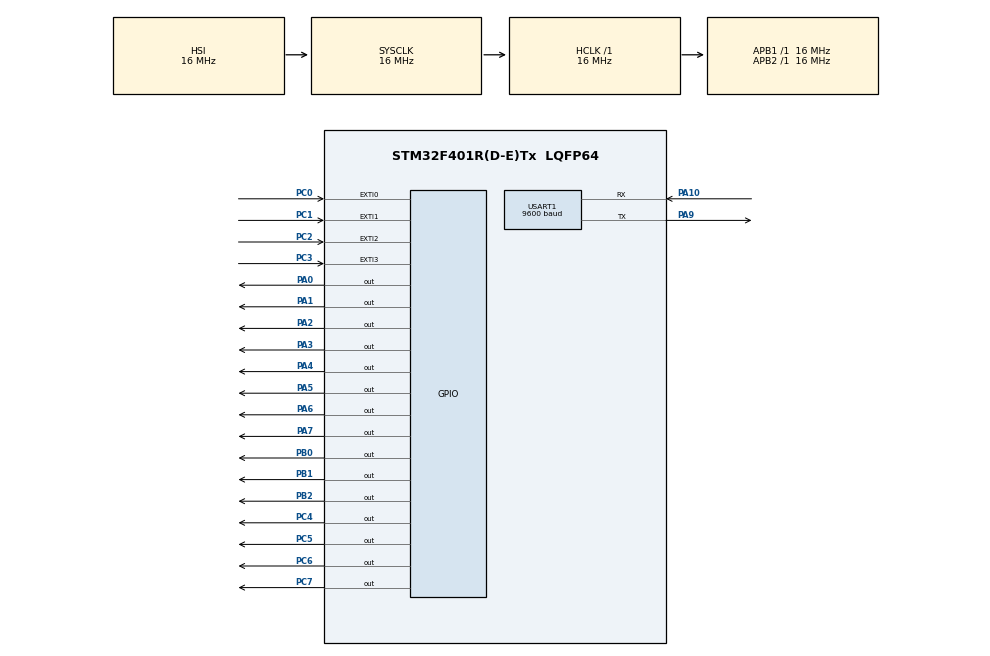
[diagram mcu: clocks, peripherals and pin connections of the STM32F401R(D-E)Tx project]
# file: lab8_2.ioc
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Mcu.Family=STM32F4
Mcu.Name=STM32F401R(D-E)Tx
Mcu.Package=LQFP64
NVIC.EXTI0_IRQn=true\:0\:0\:false\:false\:true\:true\:true
NVIC.EXTI1_IRQn=true\:0\:0\:false\:false\:true\:true\:true
NVIC.EXTI2_IRQn=true\:0\:0\:false\:false\:true\:true\:true
NVIC.EXTI3_IRQn=true\:0\:0\:false\:false\:true\:true\:true
NVIC.PriorityGroup=NVIC_PRIORITYGROUP_4
NVIC.USART1_IRQn=true\:0\:0\:false\:false\:true\:true\:true
PA0-WKUP.Signal=GPIO_Output
PA1.Signal=GPIO_Output
PA10.GPIO_PuPd=GPIO_PULLDOWN
PA10.GPIO_Speed=GPIO_SPEED_FREQ_HIGH
PA10.Mode=Asynchronous
PA10.Signal=USART1_RX
PA2.Signal=GPIO_Output
PA3.Signal=GPIO_Output
PA4.Signal=GPIO_Output
PA5.Signal=GPIO_Output
PA6.Signal=GPIO_Output
PA7.Signal=GPIO_Output
PA9.GPIO_PuPd=GPIO_PULLDOWN
PA9.GPIO_Speed=GPIO_SPEED_FREQ_HIGH
PA9.Mode=Asynchronous
PA9.Signal=USART1_TX
PB0.Signal=GPIO_Output
PB1.Signal=GPIO_Output
PB2.Signal=GPIO_Output
PC0.Signal=GPXTI0
PC1.Signal=GPXTI1
PC2.Signal=GPXTI2
PC3.Signal=GPXTI3
PC4.Signal=GPIO_Output
PC5.Signal=GPIO_Output
PC6.Signal=GPIO_Output
PC7.Signal=GPIO_Output
ProjectManager.HeapSize=0x200
ProjectManager.StackSize=0x400
ProjectManager.TargetToolchain=MDK-ARM V5.32
RCC.48MHZClocksFreq_Value=48000000
RCC.AHBFreq_Value=16000000
RCC.APB1Freq_Value=16000000
RCC.APB1TimFreq_Value=16000000
RCC.APB2Freq_Value=16000000
RCC.APB2TimFreq_Value=16000000
RCC.CortexFreq_Value=16000000
RCC.HCLKFreq_Value=16000000
RCC.HSE_VALUE=16000000
RCC.HSI_VALUE=16000000
RCC.LSE_VALUE=32768
RCC.PLLP=RCC_PLLP_DIV6
RCC.SYSCLKFreq_VALUE=16000000
RCC.VCOOutputFreq_Value=192000000
USART1.BaudRate=9600
USART1.Mode=MODE_TX_RX
USART1.VirtualMode=VM_ASYNC
board=custom

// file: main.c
/* USER CODE BEGIN Header */
/**
  ******************************************************************************
  * @file           : main.c
  * @brief          : Main program body
  ******************************************************************************
  * @attention
  *
  * Copyright (c) 2022 STMicroelectronics.
  * All rights reserved.
  *
  * This software is licensed under terms that can be found in the LICENSE file
  * in the root directory of this software component.
  * If no LICENSE file comes with this software, it is provided AS-IS.
  *
  ******************************************************************************
  */
/* USER CODE END Header */
#include "main.h"

/* USER CODE BEGIN Includes */
#include "stdio.h"
/* USER CODE END Includes */

/* USER CODE BEGIN PD */
// LCD Pins
#define RS (0)
#define RW (1)
#define E (2)

#define MASK(x) (1UL << (x))
#define NMASK(x) (~(1UL <<(x)))
/* USER CODE END PD */

UART_HandleTypeDef huart1;

/* USER CODE BEGIN PV */

typedef enum {OPERAND1 , OPERAND2, OPERATOR2, ASSIGN} state;

//Variables
volatile  static state opState = OPERAND1;
volatile static unsigned int zero_counter = 0;
static volatile int operand1 = 0, operand2 = 0, keyPadColIndex = 0;
static volatile int result = 0;
static volatile char op = '+', tempOperator = '+';
uint8_t character, rx_Data=' ';
int first = 0;

/* USER CODE END PV */

void SystemClock_Config(void);
static void MX_GPIO_Init(void);
static void MX_USART1_UART_Init(void);
/* USER CODE BEGIN PFP */
void  Delay(int);
void  ChangeKeyPadColIndex(void);
void  calculateResult(void);
void InitLCD(void);
void clearFirstLine(void);
void LCD_data(unsigned char );
void LCDCmd(unsigned char );
void LCD_display(long long int num);
long long int reverse(long long int a);
void initPrint();

#ifdef __GNUC__
/* With GCC/RAISONANCE, small printf (option LD Linker->Libraries->Small printf
   set to 'Yes') calls __io_putchar() */
#define PUTCHAR_PROTOTYPE int __io_putchar(int ch)
#define GETCHAR_PROTOTYPE int __io_getchar(void)
#else
#define PUTCHAR_PROTOTYPE int fputc(int ch, FILE *f)
#define GETCHAR_PROTOTYPE int fgetc(FILE *f)
#endif /* __GNUC__ */

PUTCHAR_PROTOTYPE
    {
    HAL_UART_Transmit(&huart1,(uint8_t*)&ch,1,100);

        return ch;

    }
/* USER CODE END PFP */

int main(void)
{

  /* MCU Configuration--------------------------------------------------------*/

  /* Reset of all peripherals, Initializes the Flash interface and the Systick. */
  HAL_Init();

  /* Configure the system clock */
  SystemClock_Config();

  /* Initialize all configured peripherals */
  MX_GPIO_Init();
  MX_USART1_UART_Init();
  /* USER CODE BEGIN 2 */
	InitLCD();
  /* USER CODE END 2 */

  /* Infinite loop */
  /* USER CODE BEGIN WHILE */
  while (1)
  {
		ChangeKeyPadColIndex();

    /* USER CODE END WHILE */

  }
}

void SystemClock_Config(void)
{
  RCC_OscInitTypeDef RCC_OscInitStruct = {0};
  RCC_ClkInitTypeDef RCC_ClkInitStruct = {0};

  /** Configure the main internal regulator output voltage
  */
  __HAL_RCC_PWR_CLK_ENABLE();
  __HAL_PWR_VOLTAGESCALING_CONFIG(PWR_REGULATOR_VOLTAGE_SCALE2);
  /** Initializes the RCC Oscillators according to the specified parameters
  * in the RCC_OscInitTypeDef structure.
  */
  RCC_OscInitStruct.OscillatorType = RCC_OSCILLATORTYPE_HSI;
  RCC_OscInitStruct.HSIState = RCC_HSI_ON;
  RCC_OscInitStruct.HSICalibrationValue = RCC_HSICALIBRATION_DEFAULT;
  RCC_OscInitStruct.PLL.PLLState = RCC_PLL_NONE;
  if (HAL_RCC_OscConfig(&RCC_OscInitStruct) != HAL_OK)
  {
    Error_Handler();
  }
  /** Initializes the CPU, AHB and APB buses clocks
  */
  RCC_ClkInitStruct.ClockType = RCC_CLOCKTYPE_HCLK|RCC_CLOCKTYPE_SYSCLK
                              |RCC_CLOCKTYPE_PCLK1|RCC_CLOCKTYPE_PCLK2;
  RCC_ClkInitStruct.SYSCLKSource = RCC_SYSCLKSOURCE_HSI;
  RCC_ClkInitStruct.AHBCLKDivider = RCC_SYSCLK_DIV1;
  RCC_ClkInitStruct.APB1CLKDivider = RCC_HCLK_DIV1;
  RCC_ClkInitStruct.APB2CLKDivider = RCC_HCLK_DIV1;

  if (HAL_RCC_ClockConfig(&RCC_ClkInitStruct, FLASH_LATENCY_0) != HAL_OK)
  {
    Error_Handler();
  }
}

static void MX_USART1_UART_Init(void)
{

  huart1.Instance = USART1;
  huart1.Init.BaudRate = 9600;
  huart1.Init.WordLength = UART_WORDLENGTH_8B;
  huart1.Init.StopBits = UART_STOPBITS_1;
  huart1.Init.Parity = UART_PARITY_NONE;
  huart1.Init.Mode = UART_MODE_TX;
  huart1.Init.HwFlowCtl = UART_HWCONTROL_NONE;
  huart1.Init.OverSampling = UART_OVERSAMPLING_16;
  if (HAL_UART_Init(&huart1) != HAL_OK)
  {
    Error_Handler();
  }

}

static void MX_GPIO_Init(void)
{
  GPIO_InitTypeDef GPIO_InitStruct = {0};

  /* GPIO Ports Clock Enable */
  __HAL_RCC_GPIOC_CLK_ENABLE();
  __HAL_RCC_GPIOA_CLK_ENABLE();
  __HAL_RCC_GPIOB_CLK_ENABLE();

  /*Configure GPIO pin Output Level */
  HAL_GPIO_WritePin(GPIOA, GPIO_PIN_0|GPIO_PIN_1|GPIO_PIN_2|GPIO_PIN_3
                          |GPIO_PIN_4|GPIO_PIN_5|GPIO_PIN_6|GPIO_PIN_7, GPIO_PIN_RESET);

  /*Configure GPIO pin Output Level */
  HAL_GPIO_WritePin(GPIOC, GPIO_PIN_4|GPIO_PIN_5|GPIO_PIN_6|GPIO_PIN_7, GPIO_PIN_RESET);

  /*Configure GPIO pin Output Level */
  HAL_GPIO_WritePin(GPIOB, GPIO_PIN_0|GPIO_PIN_1|GPIO_PIN_2, GPIO_PIN_RESET);

  /*Configure GPIO pins : PC0 PC1 PC2 PC3 */
  GPIO_InitStruct.Pin = GPIO_PIN_0|GPIO_PIN_1|GPIO_PIN_2|GPIO_PIN_3;
  GPIO_InitStruct.Mode = GPIO_MODE_IT_RISING;
  GPIO_InitStruct.Pull = GPIO_NOPULL;
  HAL_GPIO_Init(GPIOC, &GPIO_InitStruct);

  /*Configure GPIO pins : PA0 PA1 PA2 PA3
                           PA4 PA5 PA6 PA7 */
  GPIO_InitStruct.Pin = GPIO_PIN_0|GPIO_PIN_1|GPIO_PIN_2|GPIO_PIN_3
                          |GPIO_PIN_4|GPIO_PIN_5|GPIO_PIN_6|GPIO_PIN_7;
  GPIO_InitStruct.Mode = GPIO_MODE_OUTPUT_PP;
  GPIO_InitStruct.Pull = GPIO_NOPULL;
  GPIO_InitStruct.Speed = GPIO_SPEED_FREQ_LOW;
  HAL_GPIO_Init(GPIOA, &GPIO_InitStruct);

  /*Configure GPIO pins : PC4 PC5 PC6 PC7 */
  GPIO_InitStruct.Pin = GPIO_PIN_4|GPIO_PIN_5|GPIO_PIN_6|GPIO_PIN_7;
  GPIO_InitStruct.Mode = GPIO_MODE_OUTPUT_PP;
  GPIO_InitStruct.Pull = GPIO_NOPULL;
  GPIO_InitStruct.Speed = GPIO_SPEED_FREQ_LOW;
  HAL_GPIO_Init(GPIOC, &GPIO_InitStruct);

  /*Configure GPIO pins : PB0 PB1 PB2 */
  GPIO_InitStruct.Pin = GPIO_PIN_0|GPIO_PIN_1|GPIO_PIN_2;
  GPIO_InitStruct.Mode = GPIO_MODE_OUTPUT_PP;
  GPIO_InitStruct.Pull = GPIO_NOPULL;
  GPIO_InitStruct.Speed = GPIO_SPEED_FREQ_LOW;
  HAL_GPIO_Init(GPIOB, &GPIO_InitStruct);

  /* EXTI interrupt init*/
  HAL_NVIC_SetPriority(EXTI0_IRQn, 1, 0);
  HAL_NVIC_EnableIRQ(EXTI0_IRQn);

  HAL_NVIC_SetPriority(EXTI1_IRQn, 1, 0);
  HAL_NVIC_EnableIRQ(EXTI1_IRQn);

  HAL_NVIC_SetPriority(EXTI2_IRQn, 1, 0);
  HAL_NVIC_EnableIRQ(EXTI2_IRQn);

  HAL_NVIC_SetPriority(EXTI3_IRQn, 1, 0);
  HAL_NVIC_EnableIRQ(EXTI3_IRQn);

}

/* USER CODE BEGIN 4 */

void HAL_GPIO_EXTI_Callback(uint16_t GPIO_Pin){
	if(rx_Data==' '){
		switch (GPIO_Pin){
			case GPIO_PIN_3:{switch(keyPadColIndex){
		//Clear Key
		case 0:{
			character = 'C';
			if(HAL_UART_Transmit(&huart1,&character,1,100) == HAL_OK){
				HAL_UART_Receive_IT(&huart1,&rx_Data,1);
			}
			opState = OPERAND1;
			operand1 = 0;
			operand2 = 0;
			break;
		}
		//0 Key
		case 1:{
			character = '0';
			if(HAL_UART_Transmit(&huart1,&character,1,100) == HAL_OK){
				HAL_UART_Receive_IT(&huart1,&rx_Data,1);
			}
			if(opState == OPERAND1){
				operand1 *= 10;
				operand1 += 0;
			}
			else if (opState==OPERAND2){
				operand2 *= 10;
				operand2 += 0;
			}
			break;
		}
		//= Key
		case 2:{
			opState = ASSIGN;
			character = '=';
			if(HAL_UART_Transmit(&huart1,&character,1,100) == HAL_OK){
				HAL_UART_Receive_IT(&huart1,&rx_Data,1);
			}

			break;
		}
		// + Key
		case 3:{

			if(opState==OPERAND1){
					op = '+';
					opState = OPERAND2;
			}
			// If Second Operator Clicked
			else if(opState == OPERAND2){
					tempOperator = '+';
					opState = OPERATOR2;
			}
			character = '+';
			if(HAL_UART_Transmit(&huart1,&character,1,100) == HAL_OK){
				HAL_UART_Receive_IT(&huart1,&rx_Data,1);
			}
			break;
		}
	}
				while(HAL_GPIO_ReadPin(GPIOC,GPIO_PIN_3) == GPIO_PIN_SET);
			break;}
			case GPIO_PIN_2:{switch(keyPadColIndex){
		// 1 Key
		case 0:{
			character = '1';
			if(HAL_UART_Transmit(&huart1,&character,1,100) == HAL_OK){
				HAL_UART_Receive_IT(&huart1,&rx_Data,1);
			}
			if(opState == OPERAND1){
				operand1 *= 10;
				operand1 += 1;
			}
			else if (opState == OPERAND2){
				operand2 *= 10;
				operand2 += 1;
			}
			break;
		}
		// 2 Key
		case 1:{
			character = '2';
			if(HAL_UART_Transmit(&huart1,&character,1,100) == HAL_OK){
				HAL_UART_Receive_IT(&huart1,&rx_Data,1);
			}
			if(opState ==OPERAND1){
				operand1 *= 10;
				operand1 += 2;
			}
			else if(opState == OPERAND2){
				operand2 *= 10;
				operand2 += 2;
			}
			break;
		}
		// 3 Key
		case 2:{
			if(opState ==OPERAND1){
				operand1 *= 10;
				operand1 += 3;
			}
			else if (opState == OPERAND2){
				operand2 *= 10;
				operand2 += 3;
			}
			character = '3';
			if(HAL_UART_Transmit(&huart1,&character,1,100) == HAL_OK){
				HAL_UART_Receive_IT(&huart1,&rx_Data,1);
			}

			break;
		}
		// - Key
		case 3:{
			if(opState==OPERAND1){
					op = '-';
					opState = OPERAND2;
			}
			// If Second Operator Clicked
			else if(opState== OPERAND2){
					tempOperator = '-';
					opState = OPERATOR2;
			}
			character = '-';
			if(HAL_UART_Transmit(&huart1,&character,1,100) == HAL_OK){
				HAL_UART_Receive_IT(&huart1,&rx_Data,1);
			}
			break;
		}
	}
		while(HAL_GPIO_ReadPin(GPIOC,GPIO_PIN_2) == GPIO_PIN_SET);
			break;}
			case GPIO_PIN_1:{switch(keyPadColIndex){
		// 4 Key
		case 0:{
			character = '4';
			if(HAL_UART_Transmit(&huart1,&character,1,100) == HAL_OK){
				HAL_UART_Receive_IT(&huart1,&rx_Data,1);
			}
			if(opState == OPERAND1){
				operand1 *= 10;
				operand1 += 4;
			}
			else if (opState == OPERAND2){
				operand2 *= 10;
				operand2 += 4;
			}
			break;
		}
		// 5 Key
		case 1:{
			character = '5';
			if(HAL_UART_Transmit(&huart1,&character,1,100) == HAL_OK){
				HAL_UART_Receive_IT(&huart1,&rx_Data,1);
			}
			if(opState == OPERAND1){
				operand1 *= 10;
				operand1 += 5;
			}
			else if ( opState == OPERAND2){
				operand2 *= 10;
				operand2 += 5;
			}
			break;
		}
		// 6 Key
		case 2:{
			character = '6';
			if(HAL_UART_Transmit(&huart1,&character,1,100) == HAL_OK){
				HAL_UART_Receive_IT(&huart1,&rx_Data,1);
			}
			if(opState == OPERAND1){
				operand1 *= 10;
				operand1 += 6;
			}
			else if (opState == OPERAND2){
				operand2 *= 10;
				operand2 += 6;
			}
			break;
		}
		// * Key
		case 3:{
			if(opState==OPERAND1){
					op = '*';
					opState = OPERAND2;

			}
			// If Second Operator Clicked
			else if(opState==OPERAND2){
					tempOperator = '*';
					opState = OPERATOR2;
			}
			character = '*';
			if(HAL_UART_Transmit(&huart1,&character,1,100) == HAL_OK){
				HAL_UART_Receive_IT(&huart1,&rx_Data,1);
			}
			break;
		}
	}
		while(HAL_GPIO_ReadPin(GPIOC,GPIO_PIN_1) == GPIO_PIN_SET);
			break;}
			case GPIO_PIN_0:{switch(keyPadColIndex){
		// 7 Key
		case 0:{
			character = '7';
			if(HAL_UART_Transmit(&huart1,&character,1,100) == HAL_OK){
				HAL_UART_Receive_IT(&huart1,&rx_Data,1);
			}
			if(opState == OPERAND1){
				operand1 *= 10;
				operand1 += 7;
			}
			else if (opState == OPERAND2){
				operand2 *= 10;
				operand2 += 7;
			}
			break;
		}
		// 8 Key
		case 1:{
			character = '8';
			if(HAL_UART_Transmit(&huart1,&character,1,100) == HAL_OK){
				HAL_UART_Receive_IT(&huart1,&rx_Data,1);
			}
			if(opState == OPERAND1){
				operand1 *= 10;
				operand1 += 8;
			}
			else if( opState == OPERAND2){
				operand2 *= 10;
				operand2 += 8;
			}
			break;
		}
		// 9 Key
		case 2:{
			character = '9';
			if(HAL_UART_Transmit(&huart1,&character,1,100) == HAL_OK){
				HAL_UART_Receive_IT(&huart1,&rx_Data,1);
			}
			if(opState == OPERAND1){
				operand1 *= 10;
				operand1 += 9;
			}
			else if (opState == OPERAND2){
				operand2 *= 10;
				operand2 += 9;
			}
			break;
		}
		// / key
		case 3:{
			if(opState==OPERAND1){
					op = '/';
					opState = OPERAND2;

			}
			// If Second Operator Clicked
			else if(opState==OPERAND2){
					tempOperator = '/';
					opState = OPERATOR2;
			}
			character = '/';
			if(HAL_UART_Transmit(&huart1,&character,1,100) == HAL_OK){
				HAL_UART_Receive_IT(&huart1,&rx_Data,1);
			}
			break;
		}
	}
	while(HAL_GPIO_ReadPin(GPIOC,GPIO_PIN_0) == GPIO_PIN_SET);
			break;}
		}
	}
}

void calculateResult(void){
	if(opState == ASSIGN || opState == OPERATOR2){
			switch(op){
				case '*':result = operand1 * operand2;
							break;
				case '/':result = operand1 / operand2;
							break;
				case '+':result = operand1 + operand2;
							break;
				case '-':result = operand1 - operand2;
							break;
			}
			operand2 = 0;
			operand1 = result;
			LCD_display(result);
			if(opState==OPERATOR2){
				op = tempOperator;
				opState = OPERAND2;
				character = tempOperator;
				LCD_data(tempOperator);
			}else{
				opState = OPERAND1;
			}
		}
}

void clearFirstLine(void){
	LCDCmd(0x80);
	for (int i=0 ;i<16; i++){
		LCD_data(' ');
	}
	LCDCmd(0x80);
}

void InitLCD(void) {
	Delay(1300000);
  LCDCmd(0x30);
  Delay(300000);
  LCDCmd(0x30);
  Delay(50000);
	LCDCmd(0x38);
  LCDCmd(0x06);
  LCDCmd(0x80);
  LCDCmd(0x0F);
  LCDCmd(0x30);
  LCDCmd(0x30);
	LCDCmd(0x01);
  LCDCmd(0x30);
  LCDCmd(0x30);
	initPrint();
	clearFirstLine();
}

void initPrint(){
	LCD_data('O');
  LCD_data('N');
  Delay(300000);
}

void LCDCmd(unsigned char command) {

	GPIOB->ODR &= ~(MASK(RS));
	GPIOB->ODR &= ~(MASK(RW));
	GPIOA->ODR &= ~(0xFF);
	GPIOA->ODR |= (command);
	GPIOB->ODR |= MASK(E);
	Delay(30000);
	GPIOB->ODR &=  ~(MASK(E));
	if (command < 4){
		Delay(100000);
	}
	else{
		Delay(30000);
	}
}

void LCD_data(unsigned char data) {
	GPIOB->ODR |= MASK(RS);
	GPIOB->ODR &= ~(MASK(RW));
	GPIOA->ODR &= ~(0xFF);
	GPIOA->ODR |= (data);
	GPIOB->ODR |= MASK(E);
	Delay(30000);
	GPIOB->ODR &= ~(MASK(E));
	Delay(100000);
}

void ChangeKeyPadColIndex (void){
		HAL_GPIO_WritePin(GPIOC,GPIO_PIN_4,GPIO_PIN_RESET);
		HAL_GPIO_WritePin(GPIOC,GPIO_PIN_5,GPIO_PIN_RESET);
		HAL_GPIO_WritePin(GPIOC,GPIO_PIN_6,GPIO_PIN_RESET);
		HAL_GPIO_WritePin(GPIOC,GPIO_PIN_7,GPIO_PIN_RESET);
		keyPadColIndex = (keyPadColIndex + 1)%4;
		GPIOC->ODR |= MASK(4 + keyPadColIndex);
}

void LCD_display(long long int num){
	clearFirstLine();
	Delay(30000);
	if(num==0){
		LCD_data('0');
		return;
	}else if(num < 0){
		LCD_data('-');
		num *= -1;
	}
	long long int reversedNumber= reverse(num);
	for(;reversedNumber > 0;reversedNumber/=10){
				LCD_data(reversedNumber%10 + '0');
		}
		while(zero_counter > 0){
				LCD_data('0');
				zero_counter--;
		}
}
long long int reverse(long long int a){
	long long int reversed = 0;
	zero_counter = 0;
	while(a % 10 == 0){
		a/=10;
		zero_counter++;
	}
	for(;a > 0;a/=10){
			reversed*=10;
			reversed+=a%10;
		}
	return reversed;
}

void HAL_UART_RxCpltCallback(UART_HandleTypeDef *huart){
	if(first==0){
		first = 1;
		operand1 = 0;
		operand2 = 0;
		opState = OPERAND1;
		rx_Data=' ';
		return;
	}

	rx_Data == '=' || opState == OPERATOR2 ? calculateResult() : rx_Data == 'C'? clearFirstLine(): LCD_data(rx_Data);
	rx_Data=' ';

}

// Delay
void Delay(int n){
	  for(volatile long long i=0;i< n;i++);
}

/* USER CODE END 4 */

void Error_Handler(void)
{
  __disable_irq();
  while (1)
  {
  }
}
